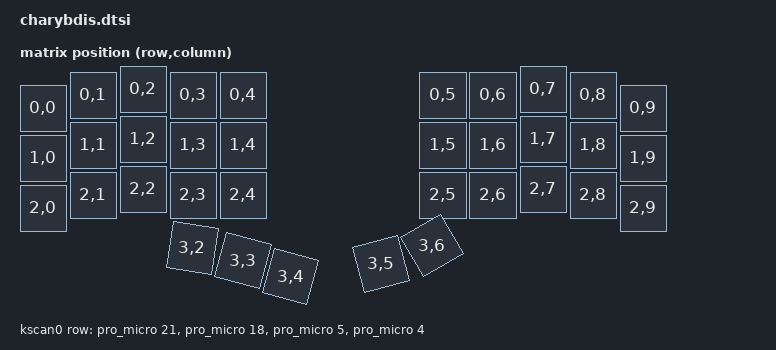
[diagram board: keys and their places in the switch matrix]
#include <dt-bindings/zmk/matrix_transform.h>
#include <dt-bindings/zmk/input_transform.h>
#include <input/processors.dtsi>
#include <physical_layouts.dtsi>
#include "charybdis_layers.h"

/ {
    chosen {
      zmk,kscan = &kscan0;
      zmk,physical-layout = &charybdis_5col_layout;
    };

    vbatt: vbatt {
        compatible = "zmk,battery-nrf-vddh";
    };

/ {
    soft_off_wakers {
        compatible = "zmk,soft-off-wakeup-sources";
        wakeup-sources = <&kscan0>;
    };
};

    default_transform: keymap_transform_0 {
      compatible = "zmk,matrix-transform";
      columns = <10>;
      rows = <4>;

      map = <
RC(0,0) RC(0,1) RC(0,2) RC(0,3) RC(0,4)    RC(0,5) RC(0,6) RC(0,7) RC(0,8) RC(0,9)
RC(1,0) RC(1,1) RC(1,2) RC(1,3) RC(1,4)    RC(1,5) RC(1,6) RC(1,7) RC(1,8) RC(1,9)
RC(2,0) RC(2,1) RC(2,2) RC(2,3) RC(2,4)    RC(2,5) RC(2,6) RC(2,7) RC(2,8) RC(2,9)
                RC(3,2) RC(3,3) RC(3,4)     RC(3,5)         RC(3,6)
      >;
    };

    kscan0: kscan {
      compatible = "zmk,kscan-gpio-matrix";
      label = "KSCAN";
      diode-direction = "row2col";
      row-gpios
        = <&pro_micro 21 GPIO_ACTIVE_HIGH>
        , <&pro_micro 18 GPIO_ACTIVE_HIGH>
        , <&pro_micro  5 GPIO_ACTIVE_HIGH>
        , <&pro_micro  4 GPIO_ACTIVE_HIGH>
      ;
    };

    charybdis_5col_layout: charybdis_5col_layout {
        compatible = "zmk,physical-layout";
        display-name = "Charybdis 3x5";

        transform = <&default_transform>;

        keys
            //                       w   h    x    y     rot    rx    ry
            // Row 0 — Left
            = <&key_physical_attrs 100 100    0   38       0     0     0>
            , <&key_physical_attrs 100 100  100   12       0     0     0>
            , <&key_physical_attrs 100 100  200    0       0     0     0>
            , <&key_physical_attrs 100 100  300   12       0     0     0>
            , <&key_physical_attrs 100 100  400   12       0     0     0>
            // Row 0 — Right
            , <&key_physical_attrs 100 100  800   12       0     0     0>
            , <&key_physical_attrs 100 100  900   12       0     0     0>
            , <&key_physical_attrs 100 100 1000    0       0     0     0>
            , <&key_physical_attrs 100 100 1100   12       0     0     0>
            , <&key_physical_attrs 100 100 1200   38       0     0     0>

            // Row 1 — Left
            , <&key_physical_attrs 100 100    0  138       0     0     0>
            , <&key_physical_attrs 100 100  100  112       0     0     0>
            , <&key_physical_attrs 100 100  200  100       0     0     0>
            , <&key_physical_attrs 100 100  300  112       0     0     0>
            , <&key_physical_attrs 100 100  400  112       0     0     0>
            // Row 1 — Right
            , <&key_physical_attrs 100 100  800  112       0     0     0>
            , <&key_physical_attrs 100 100  900  112       0     0     0>
            , <&key_physical_attrs 100 100 1000  100       0     0     0>
            , <&key_physical_attrs 100 100 1100  112       0     0     0>
            , <&key_physical_attrs 100 100 1200  138       0     0     0>

            // Row 2 — Left
            , <&key_physical_attrs 100 100    0  238       0     0     0>
            , <&key_physical_attrs 100 100  100  212       0     0     0>
            , <&key_physical_attrs 100 100  200  200       0     0     0>
            , <&key_physical_attrs 100 100  300  212       0     0     0>
            , <&key_physical_attrs 100 100  400  212       0     0     0>
            // Row 2 — Right
            , <&key_physical_attrs 100 100  800  212       0     0     0>
            , <&key_physical_attrs 100 100  900  212       0     0     0>
            , <&key_physical_attrs 100 100 1000  200       0     0     0>
            , <&key_physical_attrs 100 100 1100  212       0     0     0>
            , <&key_physical_attrs 100 100 1200  238       0     0     0>

            // Thumb cluster — Left (3 keys)
            //                       w   h    x    y     rot    rx    ry
            , <&key_physical_attrs 100 100  248  314     900   298   690>
            , <&key_physical_attrs 100 100  318  314    1500   298   690>
            , <&key_physical_attrs 100 100  418  320    1500   298   690>
            // Thumb cluster — Right (2 keys)
            , <&key_physical_attrs 100 100  757  314 (-1500)  902   690>
            , <&key_physical_attrs 100 100  952  320 (-3000)  902   690>
            ;
    };

    charybdis_position_map {
        compatible = "zmk,physical-layout-position-map";

        complete;

        ten {
            physical-layout = <&charybdis_5col_layout>;
            positions
                = < 0  1  2  3  4  5  6  7  8  9>
                , <10 11 12 13 14 15 16 17 18 19>
                , <20 21 22 23 24 25 26 27 28 29>
                , <      30 31 32 33    34      >
                ;
        };
    };
};
